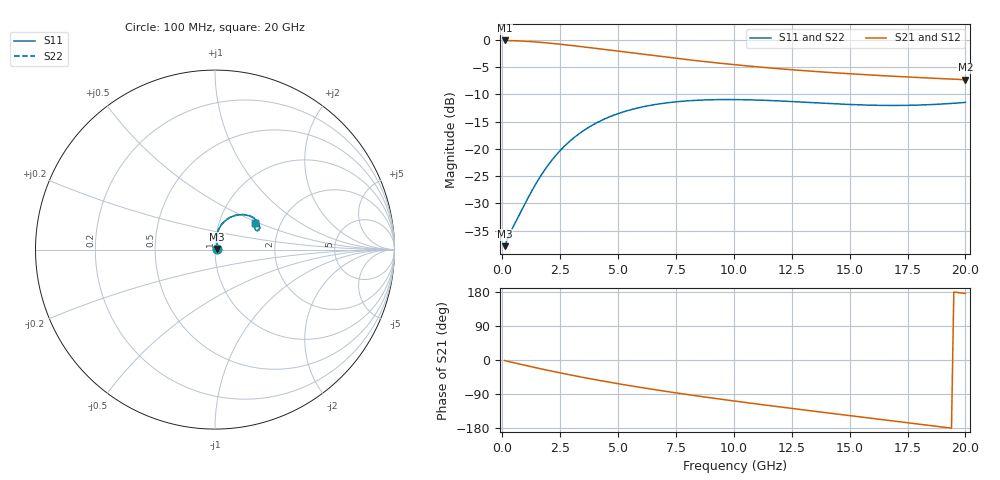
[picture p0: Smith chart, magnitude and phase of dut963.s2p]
! Touchstone file exported from HFSS 2024.1.0
!  File:  C:/UserFiles/LocalFiles/RDL_TSV_Batchsim/temp_RDL_TSV_963_1779968846.aedt
!  Generated:  08:07:08 PM May 28, 2026
!  Design:  RDL_TSV
!  Project:  temp_RDL_TSV_963_1779968846
!  Setup:  Setup1
!  Solution:  Sweep
! Variables:
!  dtsv = 7.06um
!  hbump = 3um
!  htsv = 57.03um
!  ldown = 386.49um
!  lrdl = 432.79um
!  p = 40
!  p1 = 41.9um
!  rhole = 10um
!  subl = 2890.63um
!  t = 450um
!  tdown = 4.51um
!  trdl = 4.69um
!  viad = 10um
!  wdown = 27.04um
!  wrdl = 17.29um
!  xbump = 18um
# GHz S MA R 50.000000
! Terminal data exported
! Port[1] = TM1_1_T1
! Port[2] = TM1_4_T1
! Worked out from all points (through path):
!   200 points, 100 MHz to 20 GHz, reference 50 ohm
!   highest |S21| = -0.11 dB at 100 MHz (marker M1); lowest = -7.3 dB at 20 GHz (marker M2)
!   group delay of S21, straight-line fit = 24.4 ps
!   lowest |S11| = -37.9 dB at 100 MHz (marker M3), VSWR 1.03, Z = 51.2 + j0.373 ohm
!   |S11| at or under -10 dB: start of sweep to end of sweep
!   |S22| runs from -37.9 to -10.9 dB; largest |S21 - S12| = 1.6e-14
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0.1  0.01281 16.5  0.9875 -1.5  0.9875 -1.5  0.01281 16.5
! Gamma 0 0 0 0
! Port Impedance 50 0 50 0
0.3  0.01631 35.7  0.9851 -4.4  0.9851 -4.4  0.01631 35.8
0.4  0.01805 42.4  0.9837 -5.8  0.9837 -5.8  0.01805 42.4
1.1  0.03515 72.8  0.9683 -15.6  0.9683 -15.6  0.03515 72.9
1.5  0.04983 79.9  0.9549 -21.1  0.9549 -21.1  0.04986 80.0
1.8  0.0627 82.1  0.9432 -25.1  0.9432 -25.1  0.06276 82.3
2.2  0.08157 82.5  0.9259 -30.3  0.9259 -30.3  0.08168 82.6
2.6  0.1016 81.1  0.9073 -35.3  0.9073 -35.3  0.1017 81.2
3  0.1218 78.6  0.8877 -40.2  0.8877 -40.2  0.1221 78.8
3.5  0.1467 74.8  0.8627 -46.1  0.8627 -46.1  0.147 74.9
4.2  0.1789 68.7  0.8273 -54.0  0.8273 -54.0  0.1793 68.9
5  0.2105 61.8  0.7877 -62.6  0.7877 -62.6  0.2111 62.0
5.9  0.2387 54.5  0.7452 -71.7  0.7452 -71.7  0.2394 54.7
6.8  0.2591 47.9  0.7057 -80.3  0.7057 -80.3  0.26 48.1
8.4  0.2791 38.2  0.6438 -94.7  0.6438 -94.7  0.2803 38.4
10.1  0.2831 30.7  0.59 -108.9  0.59 -108.9  0.2846 30.9
11.7  0.2769 26.2  0.5493 -121.6  0.5493 -121.6  0.2786 26.3
13.4  0.2656 24.1  0.5149 -134.6  0.5149 -134.6  0.2675 24.2
15  0.2555 24.5  0.4888 -146.8  0.4888 -146.8  0.2576 24.5
16.7  0.2503 27.0  0.466 -159.5  0.466 -159.5  0.2524 26.9
18.3  0.2537 30.3  0.4478 -171.6  0.4478 -171.6  0.2558 30.2
20  0.2668 33.5  0.4308 175.6  0.4308 175.6  0.2687 33.3
